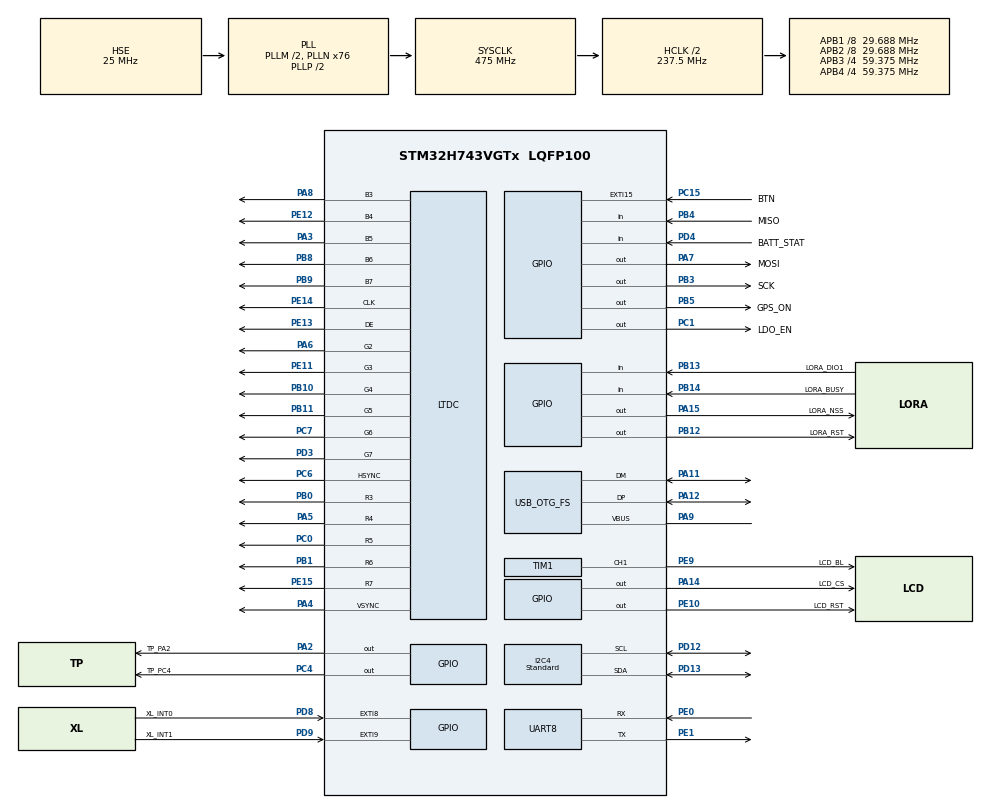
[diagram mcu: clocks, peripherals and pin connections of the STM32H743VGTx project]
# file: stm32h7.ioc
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Bdma.I2C4_RX.0.Direction=DMA_PERIPH_TO_MEMORY
Bdma.I2C4_RX.0.EventEnable=DISABLE
Bdma.I2C4_RX.0.Instance=BDMA_Channel0
Bdma.I2C4_RX.0.MemDataAlignment=DMA_MDATAALIGN_BYTE
Bdma.I2C4_RX.0.MemInc=DMA_MINC_ENABLE
Bdma.I2C4_RX.0.Mode=DMA_NORMAL
Bdma.I2C4_RX.0.PeriphDataAlignment=DMA_PDATAALIGN_BYTE
Bdma.I2C4_RX.0.PeriphInc=DMA_PINC_DISABLE
Bdma.I2C4_RX.0.Polarity=HAL_DMAMUX_REQ_GEN_RISING
Bdma.I2C4_RX.0.Priority=DMA_PRIORITY_LOW
Bdma.I2C4_RX.0.RequestNumber=1
Bdma.I2C4_RX.0.SignalID=NONE
Bdma.I2C4_RX.0.SyncEnable=DISABLE
Bdma.I2C4_RX.0.SyncPolarity=HAL_DMAMUX_SYNC_NO_EVENT
Bdma.I2C4_RX.0.SyncRequestNumber=1
Bdma.I2C4_RX.0.SyncSignalID=NONE
Bdma.I2C4_TX.1.Direction=DMA_MEMORY_TO_PERIPH
Bdma.I2C4_TX.1.EventEnable=DISABLE
Bdma.I2C4_TX.1.Instance=BDMA_Channel1
Bdma.I2C4_TX.1.MemDataAlignment=DMA_MDATAALIGN_BYTE
Bdma.I2C4_TX.1.MemInc=DMA_MINC_ENABLE
Bdma.I2C4_TX.1.Mode=DMA_NORMAL
Bdma.I2C4_TX.1.PeriphDataAlignment=DMA_PDATAALIGN_BYTE
Bdma.I2C4_TX.1.PeriphInc=DMA_PINC_DISABLE
Bdma.I2C4_TX.1.Polarity=HAL_DMAMUX_REQ_GEN_RISING
Bdma.I2C4_TX.1.Priority=DMA_PRIORITY_LOW
Bdma.I2C4_TX.1.RequestNumber=1
Bdma.I2C4_TX.1.SignalID=NONE
Bdma.I2C4_TX.1.SyncEnable=DISABLE
Bdma.I2C4_TX.1.SyncPolarity=HAL_DMAMUX_SYNC_NO_EVENT
Bdma.I2C4_TX.1.SyncRequestNumber=1
Bdma.I2C4_TX.1.SyncSignalID=NONE
Bdma.Request0=I2C4_RX
Bdma.Request1=I2C4_TX
Bdma.RequestsNb=2
CORTEX_M7.default_mode_Activation=1
I2C4.I2C_Speed_Mode=I2C_Standard
I2C4.OwnAddress=0
I2C4.Timing=0x107074AE
LTDC.ActiveW=480
LTDC.Alpha0_L0=0
LTDC.Alpha_L0=255
LTDC.Blue_L0=0
LTDC.DEPolarity=LTDC_DEPOLARITY_AL
LTDC.FBStartAdress_L0=0x08100000
LTDC.HBP=30
LTDC.HFP=4
LTDC.HSync=25
LTDC.ImageHeight_L0=480
LTDC.ImageWidth_L0=480
LTDC.Layers=0
LTDC.PixelFormat_L0=LTDC_PIXEL_FORMAT_RGB565
LTDC.VBP=20
LTDC.VFP=15
LTDC.VSync=8
LTDC.WindowX1_L0=480
LTDC.WindowY1_L0=480
Mcu.Family=STM32H7
Mcu.Name=STM32H743VGTx
Mcu.Package=LQFP100
NVIC.BDMA_Channel0_IRQn=true\:0\:0\:false\:false\:true\:false\:true\:true
NVIC.BDMA_Channel1_IRQn=true\:0\:0\:false\:false\:true\:false\:true\:true
NVIC.EXTI15_10_IRQn=true\:5\:0\:true\:false\:true\:true\:true\:true
NVIC.I2C4_ER_IRQn=true\:0\:0\:false\:false\:true\:true\:true\:true
NVIC.I2C4_EV_IRQn=true\:0\:0\:false\:false\:true\:true\:true\:true
NVIC.LTDC_ER_IRQn=true\:0\:0\:false\:false\:true\:true\:true\:true
NVIC.LTDC_IRQn=true\:0\:0\:false\:false\:true\:true\:true\:true
NVIC.OTG_FS_IRQn=true\:0\:0\:false\:false\:true\:false\:true\:true
NVIC.PriorityGroup=NVIC_PRIORITYGROUP_4
NVIC.TIM2_IRQn=true\:15\:0\:false\:false\:true\:false\:true\:true
NVIC.TIM6_DAC_IRQn=true\:0\:0\:false\:false\:true\:true\:true\:true
NVIC.TimeBase=TIM2_IRQn
NVIC.TimeBaseIP=TIM2
NVIC.UART8_IRQn=true\:0\:0\:false\:false\:true\:true\:true\:true
PA1.Signal=QUADSPI_BK1_IO3
PA11.Mode=Device_Only
PA11.Signal=USB_OTG_FS_DM
PA12.Mode=Device_Only
PA12.Signal=USB_OTG_FS_DP
PA14\ (JTCK/SWCLK).GPIO_Label=LCD_CS
PA14\ (JTCK/SWCLK).GPIO_PuPd=GPIO_PULLUP
PA14\ (JTCK/SWCLK).PinState=GPIO_PIN_SET
PA14\ (JTCK/SWCLK).Signal=GPIO_Output
PA15\ (JTDI).GPIO_Label=LORA_NSS
PA15\ (JTDI).Signal=GPIO_Output
PA2.GPIO_Label=TP_PA2
PA2.Signal=GPIO_Output
PA3.GPIO_Speed=GPIO_SPEED_FREQ_VERY_HIGH
PA3.Mode=RGB565
PA3.Signal=LTDC_B5
PA4.GPIO_Speed=GPIO_SPEED_FREQ_VERY_HIGH
PA4.Mode=RGB565
PA4.Signal=LTDC_VSYNC
PA5.GPIO_Speed=GPIO_SPEED_FREQ_VERY_HIGH
PA5.Mode=RGB565
PA5.Signal=LTDC_R4
PA6.GPIO_Speed=GPIO_SPEED_FREQ_VERY_HIGH
PA6.Mode=RGB565
PA6.Signal=LTDC_G2
PA7.GPIO_Label=MOSI
PA7.GPIO_Speed=GPIO_SPEED_FREQ_VERY_HIGH
PA7.Signal=GPIO_Output
PA8.GPIO_Speed=GPIO_SPEED_FREQ_VERY_HIGH
PA8.Mode=RGB565
PA8.Signal=LTDC_B3
PA9.Mode=Activate_VBUS
PA9.Signal=USB_OTG_FS_VBUS
PB0.GPIO_Speed=GPIO_SPEED_FREQ_VERY_HIGH
PB0.Mode=RGB565
PB0.Signal=LTDC_R3
PB1.GPIO_Speed=GPIO_SPEED_FREQ_VERY_HIGH
PB1.Mode=RGB565
PB1.Signal=LTDC_R6
PB10.GPIO_Speed=GPIO_SPEED_FREQ_VERY_HIGH
PB10.Mode=RGB565
PB10.Signal=LTDC_G4
PB11.GPIO_Speed=GPIO_SPEED_FREQ_VERY_HIGH
PB11.Mode=RGB565
PB11.Signal=LTDC_G5
PB12.GPIO_Label=LORA_RST
PB12.Signal=GPIO_Output
PB13.GPIO_Label=LORA_DIO1
PB13.Signal=GPIO_Input
PB14.GPIO_Label=LORA_BUSY
PB14.Signal=GPIO_Input
PB2.Signal=QUADSPI_CLK
PB3\ (JTDO/TRACESWO).GPIO_Label=SCK
PB3\ (JTDO/TRACESWO).GPIO_Speed=GPIO_SPEED_FREQ_VERY_HIGH
PB3\ (JTDO/TRACESWO).Signal=GPIO_Output
PB4\ (NJTRST).GPIO_Label=MISO
PB4\ (NJTRST).Signal=GPIO_Input
PB5.GPIO_Label=GPS_ON
PB5.Signal=GPIO_Output
PB8.GPIO_Speed=GPIO_SPEED_FREQ_VERY_HIGH
PB8.Mode=RGB565
PB8.Signal=LTDC_B6
PB9.GPIO_Speed=GPIO_SPEED_FREQ_VERY_HIGH
PB9.Mode=RGB565
PB9.Signal=LTDC_B7
PC0.GPIO_Speed=GPIO_SPEED_FREQ_VERY_HIGH
PC0.Mode=RGB565
PC0.Signal=LTDC_R5
PC1.GPIO_Label=LDO_EN
PC1.Signal=GPIO_Output
PC10.Signal=QUADSPI_BK1_IO1
PC15-OSC32_OUT\ (OSC32_OUT).GPIO_Label=BTN
PC15-OSC32_OUT\ (OSC32_OUT).GPIO_PuPd=GPIO_PULLDOWN
PC15-OSC32_OUT\ (OSC32_OUT).Signal=GPXTI15
PC4.GPIO_Label=TP_PC4
PC4.Signal=GPIO_Output
PC6.GPIO_Speed=GPIO_SPEED_FREQ_VERY_HIGH
PC6.Mode=RGB565
PC6.Signal=LTDC_HSYNC
PC7.GPIO_Speed=GPIO_SPEED_FREQ_VERY_HIGH
PC7.Mode=RGB565
PC7.Signal=LTDC_G6
PD11.Signal=QUADSPI_BK1_IO0
PD12.GPIO_Pu=GPIO_PULLUP
PD12.GPIO_Speed=GPIO_SPEED_FREQ_VERY_HIGH
PD12.Mode=I2C
PD12.Signal=I2C4_SCL
PD13.GPIO_Pu=GPIO_PULLUP
PD13.GPIO_Speed=GPIO_SPEED_FREQ_VERY_HIGH
PD13.Mode=I2C
PD13.Signal=I2C4_SDA
PD3.GPIO_Speed=GPIO_SPEED_FREQ_VERY_HIGH
PD3.Mode=RGB565
PD3.Signal=LTDC_G7
PD4.GPIO_Label=BATT_STAT
PD4.Signal=GPIO_Input
PD8.GPIO_Label=XL_INT0
PD8.Signal=GPXTI8
PD9.GPIO_Label=XL_INT1
PD9.Signal=GPXTI9
PE0.Mode=Asynchronous
PE0.Signal=UART8_RX
PE1.Mode=Asynchronous
PE1.Signal=UART8_TX
PE10.GPIO_Label=LCD_RST
PE10.GPIO_PuPd=GPIO_NOPULL
PE10.PinState=GPIO_PIN_SET
PE10.Signal=GPIO_Output
PE11.GPIO_Speed=GPIO_SPEED_FREQ_VERY_HIGH
PE11.Mode=RGB565
PE11.Signal=LTDC_G3
PE12.GPIO_Speed=GPIO_SPEED_FREQ_VERY_HIGH
PE12.Mode=RGB565
PE12.Signal=LTDC_B4
PE13.GPIO_Speed=GPIO_SPEED_FREQ_VERY_HIGH
PE13.Mode=RGB565
PE13.Signal=LTDC_DE
PE14.GPIO_Speed=GPIO_SPEED_FREQ_VERY_HIGH
PE14.Mode=RGB565
PE14.Signal=LTDC_CLK
PE15.GPIO_Speed=GPIO_SPEED_FREQ_VERY_HIGH
PE15.Mode=RGB565
PE15.Signal=LTDC_R7
PE9.GPIO_Label=LCD_BL
PE9.Signal=S_TIM1_CH1
PH0-OSC_IN\ (PH0).Mode=HSE-External-Oscillator
PH0-OSC_IN\ (PH0).Signal=RCC_OSC_IN
PH1-OSC_OUT\ (PH1).Mode=HSE-External-Oscillator
PH1-OSC_OUT\ (PH1).Signal=RCC_OSC_OUT
ProjectManager.HeapSize=0x200
ProjectManager.StackSize=0x400
ProjectManager.TargetToolchain=STM32CubeIDE
RCC.ADCFreq_Value=75000000
RCC.APB1Freq_Value=29687500
RCC.APB2Freq_Value=29687500
RCC.APB3Freq_Value=59375000
RCC.APB4Freq_Value=59375000
RCC.CortexFreq_Value=475000000
RCC.D1PPRE=RCC_APB3_DIV4
RCC.D2PPRE1=RCC_APB1_DIV8
RCC.D2PPRE2=RCC_APB2_DIV8
RCC.D3PPRE=RCC_APB4_DIV4
RCC.DIVM1=2
RCC.DIVM2=2
RCC.DIVM3=1
RCC.DIVN1=76
RCC.DIVN2=12
RCC.DIVN3=17
RCC.DIVQ1=3
RCC.DIVR3=25
RCC.HCLKFreq_Value=237500000
RCC.HPRE=RCC_HCLK_DIV2
RCC.PLL2FRACN=0
RCC.PLL3FRACN=0
RCC.PLLFRACN=0
RCC.PLLSourceVirtual=RCC_PLLSOURCE_HSE
RCC.SYSCLKFreq_VALUE=475000000
RCC.SYSCLKSource=RCC_SYSCLKSOURCE_PLLCLK
RCC.USART234578CLockSelection=RCC_USART234578CLKSOURCE_PLL2
RCC.USBCLockSelection=RCC_USBCLKSOURCE_HSI48
RCC.USBFreq_Value=48000000
SH.S_TIM1_CH1.0=TIM1_CH1,PWM Generation1 CH1
TIM1.AutoReloadPreload=TIM_AUTORELOAD_PRELOAD_ENABLE
TIM1.Channel-PWM\ Generation1\ CH1=TIM_CHANNEL_1
TIM1.OCIdleState_1=TIM_OCIDLESTATE_SET
TIM1.Period=999
TIM1.Prescaler=56
TIM6.Period=3000
TIM6.Prescaler=59375
USB_DEVICE.CLASS_NAME_FS=CDC
USB_DEVICE.VirtualMode-CDC_FS=Cdc
USB_DEVICE.VirtualModeFS=Cdc_FS
USB_OTG_FS.VirtualMode=Device_Only
VP_DMA2D_VS_DMA2D.Mode=DMA2D_Activate
VP_MEMORYMAP_VS_MEMORYMAP.Mode=CurAppReg
VP_SYS_VS_tim2.Mode=TIM2
VP_TIM1_VS_ClockSourceINT.Mode=Internal
VP_TIM6_VS_ClockSourceINT.Mode=Enable_Timer
VP_USB_DEVICE_VS_USB_DEVICE_CDC_FS.Mode=CDC_FS
board=custom

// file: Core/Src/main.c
/* USER CODE BEGIN Header */
/**
  ******************************************************************************
  * @file           : main.c
  * @brief          : Main program body
  ******************************************************************************
  * @attention
  *
  * Copyright (c) 2024 STMicroelectronics.
  * All rights reserved.
  *
  * This software is licensed under terms that can be found in the LICENSE file
  * in the root directory of this software component.
  * If no LICENSE file comes with this software, it is provided AS-IS.
  *
  ******************************************************************************
  */
/* USER CODE END Header */
#include "main.h"
#include "bdma.h"
#include "dma2d.h"
#include "i2c.h"
#include "ltdc.h"
#include "memorymap.h"
#include "tim.h"
#include "usart.h"
#include "usb_device.h"
#include "gpio.h"

/* USER CODE BEGIN Includes */

#include <stdbool.h>
#include "lsm303agr.h"
#include "gps_tools.h"
#include "max17048.h"
#include "usbd_cdc_if.h"
#include <stdio.h>
#include "st7701.h"
#include "graphics.h"

/* USER CODE END Includes */

/* USER CODE BEGIN PD */

#define GGA_BUFFER_SIZE 100
#define POWER_ON_HOLD_MS 3000
#define POWER_OFF_HOLD_MS 3000

/* USER CODE END PD */

/* USER CODE BEGIN PV */

//uint16_t framebuffer[480][480];  //16 bpp framebuffer

/* USER CODE END PV */

void SystemClock_Config(void);
static void MPU_Config(void);
/* USER CODE BEGIN PFP */

void HAL_UART_RxCpltCallback(UART_HandleTypeDef *huart);

/* USER CODE END PFP */

/* USER CODE BEGIN 0 */

#define DISPLAY_WIDTH        480
#define DISPLAY_HEIGHT       480
#define COLOR_BLUE           0x001F  // 16-bit RGB color: Blue

void display_blue(void) {
    // Fill the screen with a solid color
    for (int y = 0; y < DISPLAY_HEIGHT; y++) {
        for (int x = 0; x < DISPLAY_WIDTH; x++) {
            framebuffer[x][y] = COLOR_BLUE;
        }
    }
}

void DMA2D_FillRect(uint32_t color, uint32_t width, uint32_t height)
{
  DMA2D_HandleTypeDef hdma2d;
  hdma2d.Instance = DMA2D;

  hdma2d.Init.Mode = DMA2D_R2M;
  hdma2d.Init.ColorMode = DMA2D_OUTPUT_RGB565;
  hdma2d.Init.OutputOffset = DISPLAY_WIDTH - width;

  HAL_DMA2D_Init(&hdma2d);
  HAL_DMA2D_Start(
    &hdma2d,
    color,
	(uint32_t) framebuffer,
    width,
    height);
  HAL_DMA2D_PollForTransfer(&hdma2d, 10);
}

int _write(int file, char *ptr, int len) {
    CDC_Transmit_FS((uint8_t*)ptr, len);  // Transmit data via USB CDC
    return len;
}

LSM303AGR_AccelData accel_data;
LSM303AGR_MagData mag_data;

uint8_t rx_buffer[1];     // Buffer for receiving data via interrupt
char gga_buffer[GGA_BUFFER_SIZE]; // Larger buffer to store the accumulated data
uint8_t gga_index = 0;  // Index to keep track of the current position in data_buffer

GPS_Data gps_data;

/* USER CODE END 0 */

int main(void)
{

  /* MPU Configuration--------------------------------------------------------*/
  MPU_Config();

  /* MCU Configuration--------------------------------------------------------*/

  /* Reset of all peripherals, Initializes the Flash interface and the Systick. */
  HAL_Init();

  /* USER CODE BEGIN Init */
  __HAL_RCC_SYSCFG_CLK_ENABLE();

  /* USER CODE END Init */

  /* Configure the system clock */
  SystemClock_Config();

  /* Initialize all configured peripherals */
  MX_GPIO_Init();
  MX_BDMA_Init();
  MX_LTDC_Init();
  MX_I2C4_Init();
  MX_TIM1_Init();
  MX_UART8_Init();
  MX_USB_DEVICE_Init();
  MX_TIM6_Init();
  MX_DMA2D_Init();
  /* USER CODE BEGIN 2 */
  MX_USB_DEVICE_Init(); // Initialize USB CDC

  // power latch section. change delay to adjust power-on hold time
  HAL_Delay(POWER_ON_HOLD_MS);
  HAL_GPIO_WritePin(GPIOC, LDO_EN_Pin, GPIO_PIN_SET); // keep the LDO_EN set high when BTN released

  // update period of TIM6 to configure power-off timer
  __HAL_TIM_SET_AUTORELOAD(&htim6, POWER_OFF_HOLD_MS);

  // do extra LTDC initialization stuff

  // adjust the LTDC framebuffer address to the new private variable `framebuffer`
  HAL_LTDC_SetAddress(&hltdc, (uint32_t)&framebuffer, LTDC_LAYER_1);

  HAL_StatusTypeDef st7701_init_status = ST7701_Init();
	if (st7701_init_status != HAL_OK) {
	  printf("st7701 initialization failed!\r\n");
	} else {
	  printf("st7701 initialized!\r\n");
    }
	fflush(stdout);

  // start receiving data on UART8 via interrupt, for gps
  HAL_UART_Receive_IT(&huart8, (uint8_t*)rx_buffer, 1);

  // this one is pretty self-explanatory
  LSM303AGR_Init(&hi2c4);

//  HAL_GPIO_WritePin(GPIOB, GPS_ON_Pin, GPIO_PIN_SET);

//   Start PWM output on TIM1 Channel 1
  if (HAL_TIM_PWM_Start(&htim1, TIM_CHANNEL_1) != HAL_OK)
  {
	  // Initialization Error
	  Error_Handler();
  }
  __HAL_TIM_SET_COMPARE(&htim1, TIM_CHANNEL_1, 500); // half brightness

  // -------------- TESTING GRAPHICS LIBRARY -----------------
  Layer layer = { .head = NULL, .tail = NULL };

  Line *line = createLine(100, 250, 300, 100, rgbToColor(255, 50, 0));
  Line *line2 = createLine(300, 100, 100, 250, rgbToColor(50, 255, 0));
  Rectangle *rect = createRectangle(100, 100, 200, 150, rgbToColor(150, 0, 255));

  addDrawable(&layer, (Drawable *)rect);
  addDrawable(&layer, (Drawable *)line);
  addDrawable(&layer, (Drawable *)line2);
  int startTick = 0;
  int endTick = 0;

  /* USER CODE END 2 */

  /* Infinite loop */
  while (1)
  {

    /* USER CODE BEGIN 3 */
	  startTick = HAL_GetTick();
	  DMA2D_FillRect(0x00000000, DISPLAY_WIDTH, DISPLAY_HEIGHT);

	  drawLayerAlways(&layer);

	  endTick = HAL_GetTick();
	  if (endTick-startTick < 16) HAL_Delay(16-endTick-startTick);
	  printf("%d ms\r\n", endTick-startTick);
	  fflush(stdout);
  }
  /* USER CODE END 3 */
}

void SystemClock_Config(void)
{
  RCC_OscInitTypeDef RCC_OscInitStruct = {0};
  RCC_ClkInitTypeDef RCC_ClkInitStruct = {0};

  /** Supply configuration update enable
  */
  HAL_PWREx_ConfigSupply(PWR_LDO_SUPPLY);

  /** Configure the main internal regulator output voltage
  */
  __HAL_PWR_VOLTAGESCALING_CONFIG(PWR_REGULATOR_VOLTAGE_SCALE1);

  while(!__HAL_PWR_GET_FLAG(PWR_FLAG_VOSRDY)) {}

  __HAL_RCC_SYSCFG_CLK_ENABLE();
  __HAL_PWR_VOLTAGESCALING_CONFIG(PWR_REGULATOR_VOLTAGE_SCALE0);

  while(!__HAL_PWR_GET_FLAG(PWR_FLAG_VOSRDY)) {}

  /** Initializes the RCC Oscillators according to the specified parameters
  * in the RCC_OscInitTypeDef structure.
  */
  RCC_OscInitStruct.OscillatorType = RCC_OSCILLATORTYPE_HSI48|RCC_OSCILLATORTYPE_HSE;
  RCC_OscInitStruct.HSEState = RCC_HSE_ON;
  RCC_OscInitStruct.HSI48State = RCC_HSI48_ON;
  RCC_OscInitStruct.PLL.PLLState = RCC_PLL_ON;
  RCC_OscInitStruct.PLL.PLLSource = RCC_PLLSOURCE_HSE;
  RCC_OscInitStruct.PLL.PLLM = 2;
  RCC_OscInitStruct.PLL.PLLN = 76;
  RCC_OscInitStruct.PLL.PLLP = 2;
  RCC_OscInitStruct.PLL.PLLQ = 3;
  RCC_OscInitStruct.PLL.PLLR = 2;
  RCC_OscInitStruct.PLL.PLLRGE = RCC_PLL1VCIRANGE_3;
  RCC_OscInitStruct.PLL.PLLVCOSEL = RCC_PLL1VCOWIDE;
  RCC_OscInitStruct.PLL.PLLFRACN = 0;
  if (HAL_RCC_OscConfig(&RCC_OscInitStruct) != HAL_OK)
  {
    Error_Handler();
  }

  /** Initializes the CPU, AHB and APB buses clocks
  */
  RCC_ClkInitStruct.ClockType = RCC_CLOCKTYPE_HCLK|RCC_CLOCKTYPE_SYSCLK
                              |RCC_CLOCKTYPE_PCLK1|RCC_CLOCKTYPE_PCLK2
                              |RCC_CLOCKTYPE_D3PCLK1|RCC_CLOCKTYPE_D1PCLK1;
  RCC_ClkInitStruct.SYSCLKSource = RCC_SYSCLKSOURCE_PLLCLK;
  RCC_ClkInitStruct.SYSCLKDivider = RCC_SYSCLK_DIV1;
  RCC_ClkInitStruct.AHBCLKDivider = RCC_HCLK_DIV2;
  RCC_ClkInitStruct.APB3CLKDivider = RCC_APB3_DIV4;
  RCC_ClkInitStruct.APB1CLKDivider = RCC_APB1_DIV8;
  RCC_ClkInitStruct.APB2CLKDivider = RCC_APB2_DIV8;
  RCC_ClkInitStruct.APB4CLKDivider = RCC_APB4_DIV4;

  if (HAL_RCC_ClockConfig(&RCC_ClkInitStruct, FLASH_LATENCY_4) != HAL_OK)
  {
    Error_Handler();
  }
}

/* USER CODE BEGIN 4 */

// called when BTN is pressed
void HAL_GPIO_EXTI_Callback(uint16_t GPIO_Pin) {
	printf("BTN PRESSED");
	fflush(stdout);
    if (GPIO_Pin == GPIO_PIN_15) { // Check if the interrupt is from PC15
        if (HAL_GPIO_ReadPin(GPIOC, GPIO_PIN_15) == GPIO_PIN_SET) {
            // Button is pressed: Start 3-second timer
        	printf("BTN STILL PRESSED\n");
			fflush(stdout);
            __HAL_TIM_SET_COUNTER(&htim6, 0); // Reset the timer counter
            HAL_TIM_Base_Start_IT(&htim6);
            printf("TIMER STARTED\n");
            fflush(stdout);
        } else {
            // Button is released: Stop the timer
            HAL_TIM_Base_Stop_IT(&htim6);
        }
    }
}

// triggered at the end of each frame
void HAL_LTDC_LineEventCallback(LTDC_HandleTypeDef *hltdc)
{
    printf("frame done!\r\n");
    fflush(stdout);
}

void HAL_UART_RxCpltCallback(UART_HandleTypeDef *huart) {
	if (rx_buffer[0] == '$') {
		// Start of a new GGA sentence, reset the index
		gga_index = 0;
	} else if (rx_buffer[0] == '\r') {
		// End of GGA sentence

//		if (gga_index < GGA_BUFFER_SIZE) {
//			gga_buffer[gga_index] = '\0'; // Null-terminate for string processing
//		}

		// Process the complete GGA sentence
		bool success = Process_GGA_Sentence(gga_buffer, &gps_data);
		if (success) printf("%d satellites", gps_data.num_satellites);

		// Reset the index to start a new sentence
		gga_index = 0;
	} else if (gga_index < GGA_BUFFER_SIZE) {
		// accumulate the received character if we haven't reached the buffer size
		gga_buffer[gga_index++] = rx_buffer[0];
	} else {
		// there's something wrong, reset the index to 0 to start the data buffer over
		gga_index = 0;
	}

	// re-enable the interrupt to receive the next byte
	HAL_UART_Receive_IT(huart, rx_buffer, 1);
}

/* USER CODE END 4 */

 /* MPU Configuration */

void MPU_Config(void)
{
  MPU_Region_InitTypeDef MPU_InitStruct = {0};

  /* Disables the MPU */
  HAL_MPU_Disable();

  /** Initializes and configures the Region and the memory to be protected
  */
  MPU_InitStruct.Enable = MPU_REGION_ENABLE;
  MPU_InitStruct.Number = MPU_REGION_NUMBER0;
  MPU_InitStruct.BaseAddress = 0x0;
  MPU_InitStruct.Size = MPU_REGION_SIZE_4GB;
  MPU_InitStruct.SubRegionDisable = 0x87;
  MPU_InitStruct.TypeExtField = MPU_TEX_LEVEL0;
  MPU_InitStruct.AccessPermission = MPU_REGION_NO_ACCESS;
  MPU_InitStruct.DisableExec = MPU_INSTRUCTION_ACCESS_DISABLE;
  MPU_InitStruct.IsShareable = MPU_ACCESS_SHAREABLE;
  MPU_InitStruct.IsCacheable = MPU_ACCESS_NOT_CACHEABLE;
  MPU_InitStruct.IsBufferable = MPU_ACCESS_NOT_BUFFERABLE;

  HAL_MPU_ConfigRegion(&MPU_InitStruct);
  /* Enables the MPU */
  HAL_MPU_Enable(MPU_PRIVILEGED_DEFAULT);

}

void HAL_TIM_PeriodElapsedCallback(TIM_HandleTypeDef *htim)
{
  /* USER CODE BEGIN Callback 0 */
	if (htim->Instance == TIM6) { // Check if this is the interrupt from TIM6
		printf("TIMER FINISHED");
		fflush(stdout);
		// Code to execute when the timer reaches the period (e.g., every 3 seconds)
		if (HAL_GPIO_ReadPin(GPIOC, GPIO_PIN_15) == GPIO_PIN_SET) {
			HAL_GPIO_WritePin(GPIOC, GPIO_PIN_1, GPIO_PIN_RESET); // Set PC1 low
		}

		// Stop the timer to prevent continuous triggering (optional)
		HAL_TIM_Base_Stop_IT(htim);
	}

  /* USER CODE END Callback 0 */
  if (htim->Instance == TIM2) {
    HAL_IncTick();
  }
}

void Error_Handler(void)
{
  __disable_irq();
  while (1)
  {
  }
}
